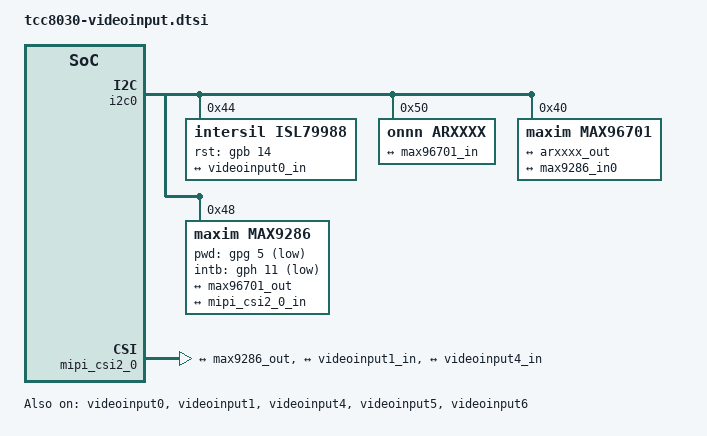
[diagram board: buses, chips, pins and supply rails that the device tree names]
// SPDX-License-Identifier: (GPL-2.0-or-later OR MIT)
/*
 * Copyright (C) Telechips Inc.
 */

#include "tcc803x-videoinput.dtsi"

&i2c0 {
	status = "okay";
	port-mux = <12>;
	pinctrl-names = "default";
	pinctrl-0 = <&i2c12_bus>;

	/* video decoder using parallel interface output */
	isl79988: isl79988 {
		status		= "okay";
		compatible	= "intersil,isl79988";
		pinctrl-names	= "default";
		pinctrl-0	= <&cam0_clk &cam0_data_8bit>;
		cifport		= <0>;
		rst-gpios	= <&gpb 14 0>;
		reg		= <0x44>;	// 0x88 >> 1
		port {
			isl79988_out: endpoint {
				remote-endpoint = <&videoinput0_in>;
				io-direction	= "output";
				bus-width	= <8>;
			};
		};
	};

	arxxxx: arxxxx@50 {
		status		= "okay";
		compatible	= "onnn,arxxxx";
		reg		= <0x50>;
		port {
			arxxxx_out: endpoint {
				remote-endpoint = <&max96701_in>;
				io-direction	= "output";
			};
		};
	};

	/* HD camera module & max9286 using MIPI CSI2 output */
	max96701: max96701@40 {
		/* serializer */
		status		= "okay";
		compatible	= "maxim,max96701";
		reg		= <0x40>;
		ports {
			#address-cells = <1>;
			#size-cells = <0>;
			port@0 {
				reg = <0>;
				max96701_in: endpoint {
					remote-endpoint = <&arxxxx_out>;
					io-direction	= "input";
				};
			};
			port@1 {
				reg = <1>;
				max96701_out: endpoint {
					remote-endpoint = <&max9286_in0>;
					io-direction	= "output";
				};
			};
		};
	};

	max9286: max9286@48 {
		/* deserializer */
		status		= "okay";
		compatible	= "maxim,max9286";
		pwd-gpios	= <&gpg 5 1>;
		intb-gpios	= <&gph 11 1>;
		//rst-gpios	= <&gpb 15 1>;  /* mcnex module sensor */
		reg		= <0x48>;	// 0x90 >> 1
		ports {
			#address-cells = <1>;
			#size-cells = <0>;
			/*
			 * 0 ~ 3
			 * input ports. The number is matched with VC
			 *
			 * 4
			 * output port.
			 */
			port@0 {
				reg = <0>;
				max9286_in0: endpoint {
					remote-endpoint = <&max96701_out>;
					io-direction	= "input";
					channel		= <0>;
				};
			};
			port@1 {
				reg = <1>;
				max9286_in1: endpoint {
					remote-endpoint = <&max96701_out>;
					io-direction	= "input";
					channel		= <1>;
				};
			};
			port@2 {
				reg = <2>;
				max9286_in2: endpoint {
					remote-endpoint = <&max96701_out>;
					io-direction	= "input";
					channel		= <2>;
				};
			};
			port@3 {
				reg = <3>;
				max9286_in3: endpoint {
					remote-endpoint = <&max96701_out>;
					io-direction	= "input";
					channel		= <3>;
				};
			};
			port@4 {
				reg = <4>;
				max9286_out: endpoint {
					remote-endpoint = <&mipi_csi2_0_in>;
					io-direction	= "output";
				};
			};
		};
	};
};

&mipi_csi2_0 {
	status = "okay";

	ports {
		/*
		 * 0
		 * input port.
		 *
		 * 1 ~ 4
		 * output ports. (1: VC0 ~ 4: VC3)
		 */
		port@0 {
			reg = <0>;
			mipi_csi2_0_in: endpoint {
				remote-endpoint	= <&max9286_out>;
				io-direction	= "input";
				num-channel = <4>;

				/*
				 * 0: CH0 only, no data interleave
				 * 1: DT only
				 * 2: VC only
				 * 3: VC and DT
				 */
				interleave-mode = <3>;
				//hs-settle = <2>; // for mcnex ispless 1ch
				//hs-settle = <19>; // for sekonix ispless 4ch
				hs-settle = <17>; // for HD 4ch
				data-lanes = <1 2 3 4>;
			};
		};
		port@1 {
			reg = <1>;
			mipi_csi2_0_out0: endpoint {
				remote-endpoint = <&videoinput1_in>;
				io-direction	= "output";
				channel		= <0>;
				/*
				 * 0: Single pixel mode
				 * 1: Dual pixel mode (RAW8/10/12, YUV422)
				 * 2: Quad pixel mode (RAW8/10/12)
				 * 3: Invalid
				 */
				pixel-mode = <1>;
			};
		};
		port@2 {
			reg = <2>;
			mipi_csi2_0_out1: endpoint {
				remote-endpoint	= <&videoinput4_in>;
				io-direction	= "output";
				channel		= <1>;
				pixel-mode = <1>;
			};
		};
		port@3 {
			reg = <3>;
			mipi_csi2_0_out2: endpoint {
				remote-endpoint	= <&videoinput5_in>;
				io-direction	= "output";
				channel		= <2>;
				pixel-mode = <1>;
			};
		};
		port@4 {
			reg = <4>;
			mipi_csi2_0_out3: endpoint {
				remote-endpoint	= <&videoinput6_in>;
				io-direction	= "output";
				channel		= <3>;
				pixel-mode = <1>;
			};
		};
	};
};

&videoinput0 {
	status		= "okay";
	cifport		= <&cifport		0>;
	use_pgl		= <0>;
	memory-region	= <&pmap_parking_gui
			   &pmap_rearcamera_viqe
			   &pmap_rearcamera
			   &pmap_vin_lastframe>;
	port {
		videoinput0_in: endpoint {
			remote-endpoint	= <&isl79988_out>;
			io-direction	= "input";
			bus-type	= <0>;
			bus-with	= <8>;
			stream-enable	= <0>;	// VIN_CTRL.SE
			flush-vsync	= <0>;	// VIN_MISC.FVS
		};
	};
};

&videoinput1 {
	status		= "okay";
	cifport		= <&cifport		5>;
	use_pgl		= <0>;
	memory-region	= <0 0 &pmap_rearcamera1>;
        port {
                videoinput1_in: endpoint {
                        remote-endpoint = <&mipi_csi2_0_out0>;
                        io-direction    = "input";
                        bus-type        = <0>;
                        bus-with        = <8>;
                        stream-enable   = <1>;  // VIN_CTRL.SE
                        flush-vsync     = <1>;  // VIN_MISC.FVS
                };
        };
};

&videoinput2 {
	status		= "disabled";
	cifport		= <&cifport 2>;
	use_pgl		= <0>;
	memory-region	= <0 0 &pmap_rearcamera2>;
};

&videoinput3 {
	status		= "disabled";
	cifport		= <&cifport 3>;
	use_pgl		= <0>;
	memory-region	= <0 0 &pmap_rearcamera3>;
};

&videoinput4 {
	status		= "okay";
	cifport		= <&cifport		6>;
	use_pgl		= <0>;
	memory-region	= <0 0 &pmap_rearcamera4>;
	port {
		videoinput4_in: endpoint {
			remote-endpoint	= <&mipi_csi2_0_out1>;
			io-direction	= "input";
			bus-type	= <0>;
			bus-with	= <8>;
			stream-enable	= <1>;	// VIN_CTRL.SE
			flush-vsync	= <1>;	// VIN_MISC.FVS
		};
	};
};

&videoinput5 {
	status		= "okay";
	cifport		= <&cifport		7>;
	use_pgl		= <0>;
	memory-region	= <0 0 &pmap_rearcamera5>;
	port {
		videoinput5_in: endpoint {
			remote-endpoint	= <&mipi_csi2_0_out2>;
			io-direction	= "input";
			bus-type	= <0>;
			bus-with	= <8>;
			stream-enable	= <1>;	// VIN_CTRL.SE
			flush-vsync	= <1>;	// VIN_MISC.FVS
		};
	};
};

&videoinput6 {
	status		= "okay";
	cifport		= <&cifport		8>;
	use_pgl		= <0>;
	memory-region	= <0 0 &pmap_rearcamera6>;
	port {
		videoinput6_in: endpoint {
			remote-endpoint	= <&mipi_csi2_0_out3>;
			io-direction	= "input";
			bus-type	= <0>;
			bus-with	= <8>;
			stream-enable	= <1>;	// VIN_CTRL.SE
			flush-vsync	= <1>;	// VIN_MISC.FVS
		};
	};
};
